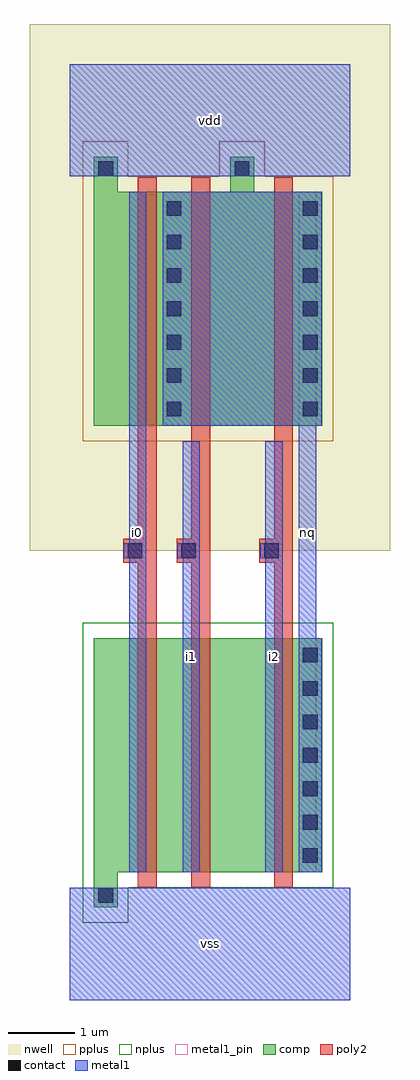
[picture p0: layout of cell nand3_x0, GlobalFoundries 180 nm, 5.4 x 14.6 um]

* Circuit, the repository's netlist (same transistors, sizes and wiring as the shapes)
* nand3_x0
.subckt nand3_x0 vdd vss nq i0 i1 i2
Mn0 vss i0 int0 vss nfet_03v3 l=0.28um w=3.5um
Mp0 vdd i0 nq vdd pfet_03v3 l=0.28um w=3.5um
Mn1 int0 i1 int1 vss nfet_03v3 l=0.28um w=3.5um
Mp1 nq i1 vdd vdd pfet_03v3 l=0.28um w=3.5um
Mn2 int1 i2 nq vss nfet_03v3 l=0.28um w=3.5um
Mp2 vdd i2 nq vdd pfet_03v3 l=0.28um w=3.5um
.ends nand3_x0

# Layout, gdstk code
import gdstk
lib = gdstk.Library(unit=1e-6, precision=1e-09)
def R(c, l, rs):  # rectangles x0, y0, x1, y1
    for r in rs: c.add(gdstk.rectangle(r[:2], r[2:], *l))
def A(c, l, x, y, w, h, nx, ny, dx, dy):  # array of equal rectangles
    R(c, l, [(x+i*dx, y+j*dy, x+i*dx+w, y+j*dy+h) for i in range(nx) for j in range(ny)])
def P(c, l, *ps):  # polygons
    for p in ps: c.add(gdstk.Polygon(p, *l))
nwell = (21, 0)
comp = (22, 0)
poly2 = (30, 0)
pplus = (31, 0)
nplus = (32, 0)
contact = (33, 0)
metal1 = (34, 0)
metal1_pin = (34, 10)

nand3_x0 = lib.new_cell('nand3_x0')
R(nand3_x0, nwell, [(-0.6,6.72,4.8,14.6)])
P(nand3_x0, comp, [(0.36,1.385),(0.36,5.41),(3.78,5.41),(3.78,1.91),(0.72,1.91),(0.72,1.385)],
  [(0.36,8.59),(0.36,12.615),(0.72,12.615),(0.72,12.09),(2.4,12.09),(2.4,12.615),(2.76,12.615),(2.76,12.09),(3.78,12.09),(3.78,8.59)])
P(nand3_x0, poly2, [(1.02,1.69),(1.02,6.54),(0.8,6.54),(0.8,6.9),(1.02,6.9),(1.02,12.31),(1.3,12.31),(1.3,1.69)],
  [(1.82,1.69),(1.82,6.54),(1.6,6.54),(1.6,6.9),(1.82,6.9),(1.82,12.31),(2.1,12.31),(2.1,1.69)],
  [(3.06,1.69),(3.06,6.54),(2.84,6.54),(2.84,6.9),(3.06,6.9),(3.06,12.31),(3.34,12.31),(3.34,1.69)])
P(nand3_x0, pplus, [(0.2,8.36),(0.2,12.845),(0.88,12.845),(0.88,12.32),(2.24,12.32),(2.24,12.845),(2.92,12.845),(2.92,12.32),(3.94,12.32),(3.94,8.36)])
P(nand3_x0, nplus, [(0.2,1.155),(0.2,5.64),(3.94,5.64),(3.94,1.68),(0.88,1.68),(0.88,1.155)])
A(nand3_x0, contact, 3.49, 2.05, 0.22, 0.22, 1, 7, 0, 0.5)
A(nand3_x0, contact, 1.45, 8.73, 0.22, 0.22, 1, 7, 0, 0.5)
A(nand3_x0, contact, 3.49, 8.73, 0.22, 0.22, 1, 7, 0, 0.5)
R(nand3_x0, contact, [(0.43,1.455,0.65,1.675), (0.87,6.61,1.09,6.83), (1.67,6.61,1.89,6.83), (2.91,6.61,3.13,6.83), (0.43,12.325,0.65,12.545), (2.47,12.325,2.69,12.545)])
R(nand3_x0, metal1, [(0,0,4.2,1.68), (0,12.32,4.2,14)])
P(nand3_x0, metal1, [(0.89,1.91),(0.89,6.605),(0.81,6.605),(0.81,6.835),(0.89,6.835),(0.89,12.09),(1.15,12.09),(1.15,1.91)],
  [(3.43,1.91),(3.43,8.59),(1.39,8.59),(1.39,12.09),(3.77,12.09),(3.77,8.59),(3.69,8.59),(3.69,5.41),(3.77,5.41),(3.77,1.91)],
  [(1.69,1.91),(1.69,6.605),(1.61,6.605),(1.61,6.835),(1.69,6.835),(1.69,8.36),(1.95,8.36),(1.95,1.91)],
  [(2.93,1.91),(2.93,6.605),(2.85,6.605),(2.85,6.835),(2.93,6.835),(2.93,8.36),(3.19,8.36),(3.19,1.91)])
R(nand3_x0, metal1_pin, [(0,0,4.2,1.68), (0.89,1.91,1.15,12.09), (1.69,1.91,1.95,8.36), (2.93,1.91,3.19,8.36), (3.43,1.91,3.69,12.09), (0,12.32,4.2,14)])
nand3_x0.add(gdstk.Label('vss', (2.1,0.84), layer=34, texttype=10))
nand3_x0.add(gdstk.Label('vdd', (2.1,13.16), layer=34, texttype=10))
nand3_x0.add(gdstk.Label('i0', (1.02,7), layer=34, texttype=10))
nand3_x0.add(gdstk.Label('nq', (3.56,7), layer=34, texttype=10))
nand3_x0.add(gdstk.Label('i1', (1.82,5.135), layer=34, texttype=10))
nand3_x0.add(gdstk.Label('i2', (3.06,5.135), layer=34, texttype=10))

lib.write_gds('nand3_x0.gds')
